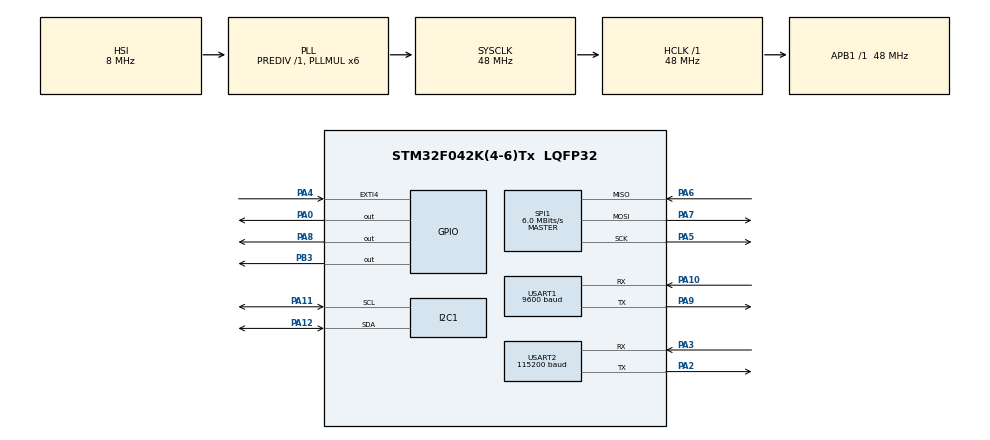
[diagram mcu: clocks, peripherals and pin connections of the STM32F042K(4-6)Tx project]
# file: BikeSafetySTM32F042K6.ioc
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Mcu.Family=STM32F0
Mcu.Name=STM32F042K(4-6)Tx
Mcu.Package=LQFP32
NVIC.EXTI4_15_IRQn=true\:0\:0\:false\:false\:true\:true\:true
NVIC.USART1_IRQn=true\:0\:0\:false\:false\:true\:true\:true
PA0.Signal=GPIO_Output
PA10.Mode=Asynchronous
PA10.Signal=USART1_RX
PA11.Mode=I2C
PA11.Signal=I2C1_SCL
PA12.Mode=I2C
PA12.Signal=I2C1_SDA
PA2.Mode=Asynchronous
PA2.Signal=USART2_TX
PA3.Mode=Asynchronous
PA3.Signal=USART2_RX
PA4.Signal=GPXTI4
PA5.Mode=Full_Duplex_Master
PA5.Signal=SPI1_SCK
PA6.Mode=Full_Duplex_Master
PA6.Signal=SPI1_MISO
PA7.Mode=Full_Duplex_Master
PA7.Signal=SPI1_MOSI
PA8.Signal=GPIO_Output
PA9.Mode=Asynchronous
PA9.Signal=USART1_TX
PB3.Signal=GPIO_Output
ProjectManager.HeapSize=0x200
ProjectManager.StackSize=0x400
ProjectManager.TargetToolchain=STM32CubeIDE
RCC.AHBFreq_Value=48000000
RCC.APB1Freq_Value=48000000
RCC.APB1TimFreq_Value=48000000
RCC.HCLKFreq_Value=48000000
RCC.PLLMUL=RCC_PLL_MUL6
RCC.SYSCLKFreq_VALUE=48000000
RCC.SYSCLKSource=RCC_SYSCLKSOURCE_PLLCLK
SPI1.BaudRatePrescaler=SPI_BAUDRATEPRESCALER_8
SPI1.CalculateBaudRate=6.0 MBits/s
SPI1.DataSize=SPI_DATASIZE_8BIT
SPI1.Direction=SPI_DIRECTION_2LINES
SPI1.Mode=SPI_MODE_MASTER
SPI1.VirtualType=VM_MASTER
TIM16.Prescaler=79
USART1.BaudRate=9600
USART1.Mode=MODE_TX_RX
USART1.VirtualMode-Asynchronous=VM_ASYNC
USART2.BaudRate=115200
USART2.VirtualMode-Asynchronous=VM_ASYNC
VP_TIM16_VS_ClockSourceINT.Mode=Enable_Timer
board=custom

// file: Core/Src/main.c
/* USER CODE BEGIN Header */
/**
  ******************************************************************************
  * @file           : main.c
  * @brief          : Main program body
  ******************************************************************************
  * @attention
  *
  * <h2><center>&copy; Copyright (c) 2021 STMicroelectronics.
  * All rights reserved.</center></h2>
  *
  * This software component is licensed by ST under BSD 3-Clause license,
  * the "License"; You may not use this file except in compliance with the
  * License. You may obtain a copy of the License at:
  *                        opensource.org/licenses/BSD-3-Clause
  *
  ******************************************************************************
  */
/* USER CODE END Header */
#include "main.h"

/* USER CODE BEGIN PTD */
HAL_I2C_StateTypeDef i2cState;		// State of i2c
HAL_StatusTypeDef i2cStatus;		// Status of i2c
HAL_StatusTypeDef spiStatus;		// Status of spi
HAL_StatusTypeDef uartStatus;		// Status of uart
HAL_StatusTypeDef uart2Status;		// Status of uart2

/* USER CODE END PTD */

I2C_HandleTypeDef hi2c1;

SPI_HandleTypeDef hspi1;

TIM_HandleTypeDef htim16;

UART_HandleTypeDef huart1;
UART_HandleTypeDef huart2;

/* USER CODE BEGIN PV */

uint32_t counter 		= 0;
uint32_t counter2 		= 0;

// MPU9250 Variables
uint32_t finalXAccValue 			= 0;
uint32_t finalXAccValueWithOffset 	= 0;
uint32_t finalYAccValue 			= 0;
uint32_t finalYAccValueWithOffset 	= 0;
uint32_t finalZAccValue 			= 0;
uint32_t finalZAccValueWithOffset 	= 0;

uint8_t IMUDevAddr 				= 0;
uint8_t ACCEL_XOUT_L 			= 0;
uint8_t ACCEL_XOUT_H 			= 0;
uint8_t ACCEL_YOUT_L 			= 0;
uint8_t ACCEL_YOUT_H 			= 0;
uint8_t ACCEL_ZOUT_L 			= 0;
uint8_t ACCEL_ZOUT_H 			= 0;

uint8_t interruptFlag 	= 0;
uint32_t timerVal 	= 0;
uint8_t clockCykles = 0;

uint32_t refXAccValueWithOffset = 0;
uint32_t refYAccValueWithOffset = 0;
uint32_t refZAccValueWithOffset = 0;

uint8_t lockedDevice = 0;

uint8_t dataReceiveI2cBuffer 	= 0;	// MP9250
uint8_t receiveUARTData[30] 	= {0};	// RFID
uint8_t UARTDataKey[30] 		= {2,51,66,48,48,50,54,48,66,53,57,52,70,3,0,0,0,0,0,0,0,0,0,0,0,0,0,0,0,0};	// RFID KEY
uint8_t receiveUART2Data[150] 	= {0};	// GSM/GNSS

//TODO Move all these to the functions
uint8_t dummyBuffer[]			= "1,1,20150327014838.000,31.221783,-00.000100,24.123456,0.28,0.0,1,,1.9,2.2,1.0,,8,4,,,42,,";
//uint8_t dummyBuffer[]			= "1,1,20150327014838.000,31.221783,60.123456,24.123456,0.28,0.0,1,,1.9,2.2,1.0,,8,4,,,42,,";
uint8_t dummyBuffer2[]			= "1,1,20150327014838.000,31.221783,60.123458,24.123458,0.28,0.0,1,,1.9,2.2,1.0,,8,4,,,42,,";
uint8_t longLat[20];
uint8_t degMinSecBuffer[3];
int commaElement;
int counterGNSS;
int latStart;
int latEndLongStart;
int longEnd;
int latDegSize;
int longDegSize;
int latNegDeg;
int longNegDeg;
int gnssFixElement;
int gnssFixStatus;

int latDeg;
int latMin;
int latSecFirst;
int latSecSecond;

int longDeg;
int longMin;
int longSecFirst;
int longSecSecond;

float latInMeters;
float prevlatInMeters;
float dlatInMeters;

float longInMeters;
float prevlongInMeters;
float dlongInMeters;

int enterToFunction = 0;

/* USER CODE END PV */

void SystemClock_Config(void);
static void MX_GPIO_Init(void);
static void MX_I2C1_Init(void);
static void MX_SPI1_Init(void);
static void MX_USART1_UART_Init(void);
static void MX_USART2_UART_Init(void);
static void MX_TIM16_Init(void);
/* USER CODE BEGIN PFP */
struct LatLongStruct latlongstructinstance; 		// TODO
struct LatLongStruct prevlatlongstructinstance; 	// TODO
struct OffsetFromHome offsetfromhome;				// TODO
char homeLocked = 0;							// TODO
struct GsmStruct gsmstruct;							// TODO

/* USER CODE END PFP */

int main(void)
{

  /* MCU Configuration--------------------------------------------------------*/

  /* Reset of all peripherals, Initializes the Flash interface and the Systick. */
  HAL_Init();

  /* Configure the system clock */
  SystemClock_Config();

  /* Initialize all configured peripherals */
  MX_GPIO_Init();
  MX_I2C1_Init();
  MX_SPI1_Init();
  MX_USART1_UART_Init();
  MX_USART2_UART_Init();
  MX_TIM16_Init();
  /* USER CODE BEGIN 2 */

  mpuInit();

  gnssInit();
  latlongstructinstance = getLatLongInMeters();
  //offsetfromhome = getOffsetFromHome(latlongstructinstance, prevlatlongstructinstance, homeLocked);
  //homeLocked = 1;
  prevlatlongstructinstance = latlongstructinstance;
  //HAL_Delay(1000);

  gsmInit();											// GSM initializer
  gsmstruct.phoneNumber = "+35844350xxxx";				// Enter number in this format
  gsmstruct.message		= "Sent from Otakaari 5tryreyre";	// Enter message to be send in this format
  sendGsmMessage(gsmstruct);

  /* USER CODE END 2 */

  /* Infinite loop */
  /* USER CODE BEGIN WHILE */

  HAL_TIM_Base_Start(&htim16);
  while (1)
  {

	  //i2cState = HAL_I2C_GetState(&hi2c1);
	  if(lockedDevice == 1 || counter2 != 0){
		  i2cState = HAL_I2C_GetState(&hi2c1);
	  //=========================MPU9250
		  i2cStatus = HAL_I2C_Master_Transmit(&hi2c1, IMUDevAddr, &ACCEL_XOUT_L, sizeof(ACCEL_XOUT_L), 10);
		  i2cStatus = HAL_I2C_Master_Receive(&hi2c1, IMUDevAddr, &dataReceiveI2cBuffer, 1, 100);
		  finalXAccValue = dataReceiveI2cBuffer;
		  i2cStatus = HAL_I2C_Master_Transmit(&hi2c1, IMUDevAddr, &ACCEL_XOUT_H, sizeof(ACCEL_XOUT_H), 10);
		  i2cStatus = HAL_I2C_Master_Receive(&hi2c1, IMUDevAddr, &dataReceiveI2cBuffer, 1, 100);
		  finalXAccValue = finalXAccValue + (dataReceiveI2cBuffer << 8);
		  finalXAccValueWithOffset = finalXAccValue + 40000;

		  i2cStatus = HAL_I2C_Master_Transmit(&hi2c1, IMUDevAddr, &ACCEL_YOUT_L, sizeof(ACCEL_YOUT_L), 10);
		  i2cStatus = HAL_I2C_Master_Receive(&hi2c1, IMUDevAddr, &dataReceiveI2cBuffer, 1, 100);
		  finalYAccValue = dataReceiveI2cBuffer;
		  i2cStatus = HAL_I2C_Master_Transmit(&hi2c1, IMUDevAddr, &ACCEL_YOUT_H, sizeof(ACCEL_YOUT_H), 10);
		  i2cStatus = HAL_I2C_Master_Receive(&hi2c1, IMUDevAddr, &dataReceiveI2cBuffer, 1, 100);
		  finalYAccValue = finalYAccValue + (dataReceiveI2cBuffer << 8);
		  finalYAccValueWithOffset = finalYAccValue + 40000;

		  i2cStatus = HAL_I2C_Master_Transmit(&hi2c1, IMUDevAddr, &ACCEL_ZOUT_L, sizeof(ACCEL_ZOUT_L), 10);
		  i2cStatus = HAL_I2C_Master_Receive(&hi2c1, IMUDevAddr, &dataReceiveI2cBuffer, 1, 100);
		  finalZAccValue = dataReceiveI2cBuffer;
		  i2cStatus = HAL_I2C_Master_Transmit(&hi2c1, IMUDevAddr, &ACCEL_ZOUT_H, sizeof(ACCEL_ZOUT_H), 10);
		  i2cStatus = HAL_I2C_Master_Receive(&hi2c1, IMUDevAddr, &dataReceiveI2cBuffer, 1, 100);
		  finalZAccValue = finalZAccValue + (dataReceiveI2cBuffer << 8);
		  finalZAccValueWithOffset = finalZAccValue + 88000;
	  //=========================MPU9250
	  }
	  if(lockedDevice == 1){
		  interruptFlag = 0;
		  //counter = counter +1;
		  if(finalZAccValueWithOffset < 100000){
			  HAL_GPIO_WritePin(GPIOA, GPIO_PIN_8, GPIO_PIN_SET);
		  }
		  else{
			  HAL_GPIO_WritePin(GPIOA, GPIO_PIN_8, GPIO_PIN_RESET);
		  }
	  }

	  else if(interruptFlag){

		  latlongstructinstance = getLatLongInMeters();
		  homeLocked = 1;
		  offsetfromhome = getOffsetFromHome(latlongstructinstance, prevlatlongstructinstance, homeLocked);
		  if(offsetfromhome.offsetLatInMeters > 150 || offsetfromhome.offsetLongInMeters > 150){
			  //sendGsmMessage(gsmstruct);
			  HAL_GPIO_TogglePin(GPIOB, GPIO_PIN_3);
		  }
		  HAL_Delay(1000);

	  }
	  /*else if(counter2 != 0){
		  homeLocked = 1;
		  latlongstructinstance = getLatLongInMeters();
		  if(__HAL_TIM_GET_COUNTER(&htim16) < timerVal){
			  clockCykles++;
			  timerVal = __HAL_TIM_GET_COUNTER(&htim16);
		  }
		  else{
			  timerVal = __HAL_TIM_GET_COUNTER(&htim16);
		  }

		  if(clockCykles > 33 && counter2 < 15){
			  clockCykles = 0;
			  counter2 = 0;
			  //INT_ENABLE[1] = 0x40;
		  }
		  else if(counter2 > 15){
			  HAL_GPIO_WritePin(GPIOA, GPIO_PIN_8, GPIO_PIN_SET);	// EXTERNAL LED
			  HAL_Delay(500);
			  HAL_GPIO_WritePin(GPIOA, GPIO_PIN_8, GPIO_PIN_RESET);
			  HAL_Delay(500);
		  }
		  else if(getOffsetFromHome(latlongstructinstance, prevlatlongstructinstance, homeLocked) > 200){
			  counter2++;
		  }

	  }*/

	  else{
		HAL_SuspendTick();

		  HAL_PWR_EnableSleepOnExit ();
		  HAL_PWR_EnterSLEEPMode(PWR_MAINREGULATOR_ON, PWR_SLEEPENTRY_WFI);

		  HAL_ResumeTick();
	  }

	  //=========================GNSS
	  //latlongstructinstance = getLatLongInMeters();
	  //offsetfromhome = getOffsetFromHome(latlongstructinstance, prevlatlongstructinstance, homeLocked);
	  //prevlatlongstructinstance = latlongstructinstance;
	  //=========================GNSS

	  counter = counter +1;
    /* USER CODE END WHILE */

  }
}

void SystemClock_Config(void)
{
  RCC_OscInitTypeDef RCC_OscInitStruct = {0};
  RCC_ClkInitTypeDef RCC_ClkInitStruct = {0};
  RCC_PeriphCLKInitTypeDef PeriphClkInit = {0};

  /** Initializes the RCC Oscillators according to the specified parameters
  * in the RCC_OscInitTypeDef structure.
  */
  RCC_OscInitStruct.OscillatorType = RCC_OSCILLATORTYPE_HSI;
  RCC_OscInitStruct.HSIState = RCC_HSI_ON;
  RCC_OscInitStruct.HSICalibrationValue = RCC_HSICALIBRATION_DEFAULT;
  RCC_OscInitStruct.PLL.PLLState = RCC_PLL_ON;
  RCC_OscInitStruct.PLL.PLLSource = RCC_PLLSOURCE_HSI;
  RCC_OscInitStruct.PLL.PLLMUL = RCC_PLL_MUL6;
  RCC_OscInitStruct.PLL.PREDIV = RCC_PREDIV_DIV1;
  if (HAL_RCC_OscConfig(&RCC_OscInitStruct) != HAL_OK)
  {
    Error_Handler();
  }
  /** Initializes the CPU, AHB and APB buses clocks
  */
  RCC_ClkInitStruct.ClockType = RCC_CLOCKTYPE_HCLK|RCC_CLOCKTYPE_SYSCLK
                              |RCC_CLOCKTYPE_PCLK1;
  RCC_ClkInitStruct.SYSCLKSource = RCC_SYSCLKSOURCE_PLLCLK;
  RCC_ClkInitStruct.AHBCLKDivider = RCC_SYSCLK_DIV1;
  RCC_ClkInitStruct.APB1CLKDivider = RCC_HCLK_DIV1;

  if (HAL_RCC_ClockConfig(&RCC_ClkInitStruct, FLASH_LATENCY_1) != HAL_OK)
  {
    Error_Handler();
  }
  PeriphClkInit.PeriphClockSelection = RCC_PERIPHCLK_USART1|RCC_PERIPHCLK_I2C1;
  PeriphClkInit.Usart1ClockSelection = RCC_USART1CLKSOURCE_PCLK1;
  PeriphClkInit.I2c1ClockSelection = RCC_I2C1CLKSOURCE_HSI;
  if (HAL_RCCEx_PeriphCLKConfig(&PeriphClkInit) != HAL_OK)
  {
    Error_Handler();
  }
}

static void MX_I2C1_Init(void)
{

  hi2c1.Instance = I2C1;
  hi2c1.Init.Timing = 0x2000090E;
  hi2c1.Init.OwnAddress1 = 0;
  hi2c1.Init.AddressingMode = I2C_ADDRESSINGMODE_7BIT;
  hi2c1.Init.DualAddressMode = I2C_DUALADDRESS_DISABLE;
  hi2c1.Init.OwnAddress2 = 0;
  hi2c1.Init.OwnAddress2Masks = I2C_OA2_NOMASK;
  hi2c1.Init.GeneralCallMode = I2C_GENERALCALL_DISABLE;
  hi2c1.Init.NoStretchMode = I2C_NOSTRETCH_DISABLE;
  if (HAL_I2C_Init(&hi2c1) != HAL_OK)
  {
    Error_Handler();
  }
  /** Configure Analogue filter
  */
  if (HAL_I2CEx_ConfigAnalogFilter(&hi2c1, I2C_ANALOGFILTER_ENABLE) != HAL_OK)
  {
    Error_Handler();
  }
  /** Configure Digital filter
  */
  if (HAL_I2CEx_ConfigDigitalFilter(&hi2c1, 0) != HAL_OK)
  {
    Error_Handler();
  }

}

static void MX_SPI1_Init(void)
{

  /* SPI1 parameter configuration*/
  hspi1.Instance = SPI1;
  hspi1.Init.Mode = SPI_MODE_MASTER;
  hspi1.Init.Direction = SPI_DIRECTION_2LINES;
  hspi1.Init.DataSize = SPI_DATASIZE_8BIT;
  hspi1.Init.CLKPolarity = SPI_POLARITY_LOW;
  hspi1.Init.CLKPhase = SPI_PHASE_1EDGE;
  hspi1.Init.NSS = SPI_NSS_SOFT;
  hspi1.Init.BaudRatePrescaler = SPI_BAUDRATEPRESCALER_8;
  hspi1.Init.FirstBit = SPI_FIRSTBIT_MSB;
  hspi1.Init.TIMode = SPI_TIMODE_DISABLE;
  hspi1.Init.CRCCalculation = SPI_CRCCALCULATION_DISABLE;
  hspi1.Init.CRCPolynomial = 7;
  hspi1.Init.CRCLength = SPI_CRC_LENGTH_DATASIZE;
  hspi1.Init.NSSPMode = SPI_NSS_PULSE_ENABLE;
  if (HAL_SPI_Init(&hspi1) != HAL_OK)
  {
    Error_Handler();
  }

}

static void MX_TIM16_Init(void)
{

  htim16.Instance = TIM16;
  htim16.Init.Prescaler = 79;
  htim16.Init.CounterMode = TIM_COUNTERMODE_UP;
  htim16.Init.Period = 65535;
  htim16.Init.ClockDivision = TIM_CLOCKDIVISION_DIV1;
  htim16.Init.RepetitionCounter = 0;
  htim16.Init.AutoReloadPreload = TIM_AUTORELOAD_PRELOAD_DISABLE;
  if (HAL_TIM_Base_Init(&htim16) != HAL_OK)
  {
    Error_Handler();
  }

}

static void MX_USART1_UART_Init(void)
{

  huart1.Instance = USART1;
  huart1.Init.BaudRate = 9600;
  huart1.Init.WordLength = UART_WORDLENGTH_8B;
  huart1.Init.StopBits = UART_STOPBITS_1;
  huart1.Init.Parity = UART_PARITY_NONE;
  huart1.Init.Mode = UART_MODE_TX_RX;
  huart1.Init.HwFlowCtl = UART_HWCONTROL_NONE;
  huart1.Init.OverSampling = UART_OVERSAMPLING_16;
  huart1.Init.OneBitSampling = UART_ONE_BIT_SAMPLE_DISABLE;
  huart1.AdvancedInit.AdvFeatureInit = UART_ADVFEATURE_NO_INIT;
  if (HAL_UART_Init(&huart1) != HAL_OK)
  {
    Error_Handler();
  }

}

static void MX_USART2_UART_Init(void)
{

  huart2.Instance = USART2;
  huart2.Init.BaudRate = 115200;
  huart2.Init.WordLength = UART_WORDLENGTH_8B;
  huart2.Init.StopBits = UART_STOPBITS_1;
  huart2.Init.Parity = UART_PARITY_NONE;
  huart2.Init.Mode = UART_MODE_TX_RX;
  huart2.Init.HwFlowCtl = UART_HWCONTROL_NONE;
  huart2.Init.OverSampling = UART_OVERSAMPLING_16;
  huart2.Init.OneBitSampling = UART_ONE_BIT_SAMPLE_DISABLE;
  huart2.AdvancedInit.AdvFeatureInit = UART_ADVFEATURE_NO_INIT;
  if (HAL_UART_Init(&huart2) != HAL_OK)
  {
    Error_Handler();
  }

}

static void MX_GPIO_Init(void)
{
  GPIO_InitTypeDef GPIO_InitStruct = {0};

  /* GPIO Ports Clock Enable */
  __HAL_RCC_GPIOA_CLK_ENABLE();
  __HAL_RCC_GPIOB_CLK_ENABLE();

  /*Configure GPIO pin Output Level */
  HAL_GPIO_WritePin(GPIOA, GPIO_PIN_0|GPIO_PIN_8, GPIO_PIN_RESET);

  /*Configure GPIO pin Output Level */
  HAL_GPIO_WritePin(GPIOB, GPIO_PIN_3, GPIO_PIN_RESET);

  /*Configure GPIO pins : PA0 PA8 */
  GPIO_InitStruct.Pin = GPIO_PIN_0|GPIO_PIN_8;
  GPIO_InitStruct.Mode = GPIO_MODE_OUTPUT_PP;
  GPIO_InitStruct.Pull = GPIO_NOPULL;
  GPIO_InitStruct.Speed = GPIO_SPEED_FREQ_LOW;
  HAL_GPIO_Init(GPIOA, &GPIO_InitStruct);

  /*Configure GPIO pin : PA4 */
  GPIO_InitStruct.Pin = GPIO_PIN_4;
  GPIO_InitStruct.Mode = GPIO_MODE_IT_RISING;
  GPIO_InitStruct.Pull = GPIO_NOPULL;
  HAL_GPIO_Init(GPIOA, &GPIO_InitStruct);

  /*Configure GPIO pin : PB3 */
  GPIO_InitStruct.Pin = GPIO_PIN_3;
  GPIO_InitStruct.Mode = GPIO_MODE_OUTPUT_PP;
  GPIO_InitStruct.Pull = GPIO_NOPULL;
  GPIO_InitStruct.Speed = GPIO_SPEED_FREQ_LOW;
  HAL_GPIO_Init(GPIOB, &GPIO_InitStruct);

  /* EXTI interrupt init*/
  HAL_NVIC_SetPriority(EXTI4_15_IRQn, 0, 0);
  HAL_NVIC_EnableIRQ(EXTI4_15_IRQn);

}

/* USER CODE BEGIN 4 */

void HAL_GPIO_EXTI_Callback(uint16_t GPIO_Pin)
{
    if(GPIO_Pin == GPIO_PIN_4 && lockedDevice == 0) // If The INT Source Is EXTI Line4 (A4 Pin)
    {
    	//HAL_GPIO_TogglePin(GPIOB, GPIO_PIN_3); // Toggle The ONBOARD LED
    	//timerVal = __HAL_TIM_GET_COUNTER(&htim16);
    	//counter2++;
    	//HAL_PWR_DisableSleepOnExit ();
    	//uint8_t INT_ENABLE[2] 			= {0x38, 0x00};
    	HAL_GPIO_WritePin(GPIOA, GPIO_PIN_8, GPIO_PIN_SET);
    	interruptFlag = 1;
    	HAL_GPIO_WritePin(GPIOA, GPIO_PIN_8, GPIO_PIN_RESET);
    	HAL_PWR_DisableSleepOnExit ();
    }

}

void HAL_UART_RxCpltCallback(UART_HandleTypeDef *huart)
{
	//HAL_GPIO_WritePin(GPIOB, GPIO_PIN_3, GPIO_PIN_SET);	// ONBOARD LED
	//HAL_GPIO_TogglePin(GPIOA, GPIO_PIN_8);
	 /*HAL_Delay(500);
	  HAL_GPIO_WritePin(GPIOB, GPIO_PIN_3, GPIO_PIN_RESET);
	  HAL_Delay(500);*/
	  uartStatus = HAL_UART_Receive_IT(&huart1, receiveUARTData, 14);
	  if(checkKey(receiveUARTData, UARTDataKey) == 1){
		  if(!lockedDevice){
			  lockedDevice = 1;
			  counter2 = 0;
			  HAL_PWR_DisableSleepOnExit ();
			  homeLocked = 0;
			  //HAL_GPIO_TogglePin(GPIOA, GPIO_PIN_8);
		  }
		  else{
			  lockedDevice = 0;
			  homeLocked = 1;
			  getOffsetFromHome(latlongstructinstance, prevlatlongstructinstance, homeLocked);
			  prevlatlongstructinstance = latlongstructinstance;
			  //HAL_GPIO_TogglePin(GPIOA, GPIO_PIN_8);
		  }

	  }
}

int checkKey(uint8_t arr1[],  uint8_t arr2[])
{
	int i;
	for(i = 0; i < 30; i++)
	{
		if(arr1[i] != arr2[i])
		{
			return 0;
		}
	}
	return 1;
}

int checkMovment()
{
	uint32_t xDiff = abs(refXAccValueWithOffset - finalXAccValueWithOffset);
	uint32_t yDiff = abs(refYAccValueWithOffset - finalYAccValueWithOffset);
	uint32_t zDiff = abs(refZAccValueWithOffset - finalZAccValueWithOffset);

	refXAccValueWithOffset = finalXAccValueWithOffset;
	refYAccValueWithOffset = finalYAccValueWithOffset;
	refZAccValueWithOffset = finalZAccValueWithOffset;

	if(xDiff > 400 || yDiff > 400 || zDiff > 400){
		return 1;
	}
	else{
		return 0;
	}
}
struct LatLongStruct getLatLongInMeters(void){
	enterToFunction = 1; // TODO delete
	struct LatLongStruct latlongstruct = {0};	// Stores LatLong metric values
	HAL_StatusTypeDef uart2Status;				// Status of uart2
	uint8_t AT_CGNSINF[] = "AT+CGNSINF\r";		// Gets data from GNSS

    uart2Status = HAL_UART_Transmit(&huart2, AT_CGNSINF, sizeof(AT_CGNSINF), 1000);
    uart2Status = HAL_UART_Receive(&huart2, receiveUART2Data, sizeof(receiveUART2Data), 1000);
    HAL_Delay(100);

	//dummyBuffer[0]	= "1,1,20150327014838.000,31.221783,60.123456,24.123456,0.28,0.0,1,,1.9,2.2,1.0,,8,4,,,42,,";

	for(int i = 0; i < sizeof(receiveUART2Data); i++){
		if(receiveUART2Data[i] == ','){
			commaElement = i;
			counterGNSS++;
		}
		if(counterGNSS == 1){
			gnssFixElement = i;
			if(receiveUART2Data[i] == '1'){
				gnssFixStatus = 1;
			}
			if(receiveUART2Data[i] == '0'){
				gnssFixStatus = 0;
			}
		}
		if(counterGNSS == 2){
			latStart = i+1;
			if(receiveUART2Data[latStart+1] == '-'){latNegDeg = 1;}
			else{latNegDeg = 0;}
			for(int j = latStart; j < latStart+6; j++){
				if(receiveUART2Data[j] == '.'){latDegSize = j-latStart-1-latNegDeg;}
			}
		}
		if(counterGNSS == 3){
			latEndLongStart = i+1;
			if(receiveUART2Data[latEndLongStart+1] == '-'){longNegDeg = 1;}
			else{longNegDeg = 0;}
			for(int j = latEndLongStart; j < latEndLongStart+6; j++){
				if(receiveUART2Data[j] == '.'){longDegSize = j-latEndLongStart-1-longNegDeg;}
			}
		}
		if(counterGNSS == 6){
			longEnd = i;
			break;
		}
	}
	counterGNSS = 0;

	memset(degMinSecBuffer, '0', sizeof(degMinSecBuffer));
	for(int i = 0; i < latDegSize; i++){degMinSecBuffer[i+3-latDegSize] = receiveUART2Data[latStart+i+1+latNegDeg];}
	latDeg = atoi(degMinSecBuffer);
	memset(degMinSecBuffer, '0', sizeof(degMinSecBuffer));
	for(int i = 1; i < 3; i++){degMinSecBuffer[i] = receiveUART2Data[latStart+i+latDegSize+1+latNegDeg];}
	latMin = atoi(degMinSecBuffer);
	for(int i = 1; i < 3; i++){degMinSecBuffer[i] = receiveUART2Data[latStart+i+latDegSize+3+latNegDeg];}
	latSecFirst = atoi(degMinSecBuffer);
	for(int i = 1; i < 3; i++){degMinSecBuffer[i] = receiveUART2Data[latStart+i+latDegSize+5+latNegDeg];}
	latSecSecond = atoi(degMinSecBuffer);
	memset(degMinSecBuffer, '0', sizeof(degMinSecBuffer));

	for(int i = 0; i < longDegSize; i++){degMinSecBuffer[i+3-longDegSize] = receiveUART2Data[latEndLongStart+i+1+longNegDeg];}
	longDeg = atoi(degMinSecBuffer);
	memset(degMinSecBuffer, '0', sizeof(degMinSecBuffer));
	for(int i = 1; i < 3; i++){degMinSecBuffer[i] = receiveUART2Data[latEndLongStart+i+longDegSize+1+longNegDeg];}
	longMin = atoi(degMinSecBuffer);
	for(int i = 1; i < 3; i++){degMinSecBuffer[i] = receiveUART2Data[latEndLongStart+i+longDegSize+3+longNegDeg];}
	longSecFirst = atoi(degMinSecBuffer);
	for(int i = 1; i < 3; i++){degMinSecBuffer[i] = receiveUART2Data[latEndLongStart+i+longDegSize+5+longNegDeg];}
	longSecSecond = atoi(degMinSecBuffer);
	memset(degMinSecBuffer, '0', sizeof(degMinSecBuffer));

	latInMeters = (latDeg*111000.0)+(latMin*1850.0)+(latSecFirst*30.0)+(latSecSecond*0.3);
	//dlatInMeters = abs(latInMeters - prevlatInMeters);
	//prevlatInMeters = latInMeters;

	longInMeters = (longDeg*111000.0)+(longMin*1850.0)+(longSecFirst*30.0)+(longSecSecond*0.3);
	//dlongInMeters = abs(longInMeters - prevlongInMeters);
	//prevlongInMeters = longInMeters;
	memset(receiveUART2Data, '?', sizeof(receiveUART2Data));

	latlongstruct.gnssFixOk 	= gnssFixStatus;
	latlongstruct.uartStatusOk	= uart2Status;
	latlongstruct.latNeg		= latNegDeg;
	latlongstruct.longNeg		= longNegDeg;
	latlongstruct.latInMeters	= latInMeters;
	latlongstruct.longInMeters	= longInMeters;

	return latlongstruct;
}

struct OffsetFromHome getOffsetFromHome(struct LatLongStruct latlongstruct, struct LatLongStruct prevlatlongstruct, char homeLocked){
	enterToFunction = 2; // TODO delete
	struct OffsetFromHome offsetfromhome;
	if(homeLocked == 0){
		offsetfromhome.offsetLatInMeters = 0.0;
		offsetfromhome.offsetLongInMeters = 0.0;
	}
	if(homeLocked == 1){
		offsetfromhome.offsetLatInMeters = abs(latlongstruct.latInMeters - prevlatlongstruct.latInMeters);
		offsetfromhome.offsetLongInMeters = abs(latlongstruct.longInMeters - prevlatlongstruct.longInMeters);
	}
	return offsetfromhome;
}

char mpuInit(void){
	char initStatus = 0;
	//=========================MPU9250
	// Registers
	IMUDevAddr 						= 0xd0;
	uint8_t PWR_MGMT_1[2] 			= {0x6b, 0b00100000};	// or 4
	//uint8_t PWR_MGMT_1[2] 			= {0x6b, 0b00000000};
	//uint8_t PWR_MGMT_2[2] 			= {0x6c, 0b00000000};	// 0 to enable all or 255 to disable all
	uint8_t PWR_MGMT_2[2] 			= {0x6c, 0b00000111};	//
	uint8_t WHO_AM_I 				= 0x75;
	uint8_t LP_ACCEL_ODR[2] 		= {0x1e, 0b00001000}; 	// 8 = output frequency 62.50Hz
	uint8_t ACCEL_CONFIG[2] 		= {0x1c, 0x0}; 			// 0x0 for 2g, 0x8 for 4g, 0x10 for 8g,0x18 for 16g
	uint8_t ACCEL_CONFIG_2[2] 		= {0x1d, 0b00001101};	//1d
	uint8_t INT_ENABLE[2] 			= {0x38, 0x40};			// enable motion interrupt
	uint8_t MOT_DETECT_CTRL[2] 		= {0x69, 0b11000000};	// enable hardware intelligence
	uint8_t WOM_THR[2]				= {0x1f, 0x03};			// threshold
	uint8_t maskLP_ACCEL_ODR[2] 	= {0x1e, 0b00000100}; 	// frequency of wake-up
	uint8_t PWR_MGMT_1_new[2] 		= {0x6b, 0b00100000};	// cycle mode
	//uint8_t PWR_MGMT_1_new[2] 		= {0x6b, 0b00000000};	// cycle mode
	uint8_t INT_PIN_CFG[2] 			= {0x37, 0b01001100};	//37
	//uint8_t INT_PIN_CFG[2] 			= {0x37, 0b00110000};	//37

	/*uint8_t ACCEL_CONFIG[2] 		= {0x1c, 0x0}; 			// 0x0 for 2g, 0x8 for 4g, 0x10 for 8g,0x18 for 16g
	uint8_t WHO_AM_I 				= 0x75;
    uint8_t PWR_MGMT_1[2] = {0x6b, 0b00000001};//6b
    uint8_t PWR_MGMT_2[2] = {0x6c, 0b00000111};//6c
    uint8_t ACCEL_CONFIG_2[2] ={0x1d, 0b00000101};//1d
    uint8_t INT_ENABLE[2] = {0x38, 0x40};//38
    uint8_t MOT_DETECT_CTRL[2] = {0x69, 0b11000000};//69
    uint8_t WOM_THR[2]={0x1f, 0x7f};//1f
    uint8_t LP_ACCEL_ODR[2] = {0x1e, 0b00000100};//1e
    uint8_t PWR_MGMT_1_new[2] = {0x6b, 0b00100000};//6b
    uint8_t INT_PIN_CFG[2] = {0x37, 0b00110000};//3a*/

	ACCEL_XOUT_L 			= 0x3c;
	ACCEL_XOUT_H 			= 0x3b;
	ACCEL_YOUT_L 			= 0x3e;
	ACCEL_YOUT_H 			= 0x3d;
	ACCEL_ZOUT_L 			= 0x40;
	ACCEL_ZOUT_H 			= 0x3f;

	i2cStatus = HAL_I2C_Master_Transmit(&hi2c1, IMUDevAddr, PWR_MGMT_1, sizeof(PWR_MGMT_1), 10);
	i2cStatus = HAL_I2C_Master_Receive(&hi2c1, IMUDevAddr, &dataReceiveI2cBuffer, 1, 10);

	HAL_Delay(10);
	i2cStatus = HAL_I2C_Master_Transmit(&hi2c1, IMUDevAddr, PWR_MGMT_2, sizeof(PWR_MGMT_2), 10);
	i2cStatus = HAL_I2C_Master_Receive(&hi2c1, IMUDevAddr, &dataReceiveI2cBuffer, 1, 10);

	HAL_Delay(10);
	i2cStatus = HAL_I2C_Master_Transmit(&hi2c1, IMUDevAddr, &WHO_AM_I, sizeof(WHO_AM_I), 10);
	i2cStatus = HAL_I2C_Master_Receive(&hi2c1, IMUDevAddr, &dataReceiveI2cBuffer, 1, 10);

	HAL_Delay(10);
	i2cStatus = HAL_I2C_Master_Transmit(&hi2c1, IMUDevAddr, LP_ACCEL_ODR, sizeof(LP_ACCEL_ODR), 10);
	i2cStatus = HAL_I2C_Master_Receive(&hi2c1, IMUDevAddr, &dataReceiveI2cBuffer, 1, 10);

	HAL_Delay(10);
	i2cStatus = HAL_I2C_Master_Transmit(&hi2c1, IMUDevAddr, ACCEL_CONFIG, sizeof(ACCEL_CONFIG), 10);
	i2cStatus = HAL_I2C_Master_Receive(&hi2c1, IMUDevAddr, &dataReceiveI2cBuffer, 1, 10);

	HAL_Delay(10);
		i2cStatus = HAL_I2C_Master_Transmit(&hi2c1, IMUDevAddr, 0x3a, 1, 10);
		i2cStatus = HAL_I2C_Master_Receive(&hi2c1, IMUDevAddr, &dataReceiveI2cBuffer, 1, 10);

	//	HAL_Delay(100000);
//=========================MPU9250
	uartStatus = HAL_UART_Receive_IT(&huart1, receiveUARTData, 14);
	initStatus = 1;
	return initStatus;
}

char gnssInit(void){
	// TODO Add proper status return or error handling
	char initStatus = 0;
	//=========================GNSS
	uint8_t AT_CGNSPWR_ON[] 	= "AT+CGNSPWR=1\r";				// GNSS turns Power ON
	uint8_t AT_CGNSPWR_OFF[] 	= "AT+CGNSPWR=0\r";				// GNSS turns Power OFF
	uint8_t AT_CGNSSEQ[] 		= "AT+CGNSSEQ=\"RMC\"\r";		// RMC for GGA
	uint8_t AT_CGNSINF[] 		= "AT+CGNSINF\r";				// Gets data from GNSS
	uint8_t AT_CGNSURC_SET[] 	= "AT+CGNSURC=0\r";
	uint8_t AT_CGNSURC_ASK[] 	= "AT+CGNSURC?\r";
	//=========================GNSS

	//=========================GNSS
	uart2Status = HAL_UART_Transmit(&huart2, AT_CGNSPWR_ON, sizeof(AT_CGNSPWR_ON), 1000);
	uart2Status = HAL_UART_Receive(&huart2, receiveUART2Data, sizeof(receiveUART2Data), 1000);
	HAL_Delay(20);
	memset(receiveUART2Data, '?', sizeof(receiveUART2Data));

	uart2Status = HAL_UART_Transmit(&huart2, AT_CGNSURC_SET, sizeof(AT_CGNSURC_SET), 1000);
	uart2Status = HAL_UART_Receive(&huart2, receiveUART2Data, sizeof(receiveUART2Data), 1000);
	HAL_Delay(10);
	memset(receiveUART2Data, '?', sizeof(receiveUART2Data));

	uart2Status = HAL_UART_Transmit(&huart2, AT_CGNSSEQ, sizeof(AT_CGNSSEQ), 1000);
	uart2Status = HAL_UART_Receive(&huart2, receiveUART2Data, sizeof(receiveUART2Data), 1000);
	HAL_Delay(10);
	memset(receiveUART2Data, '?', sizeof(receiveUART2Data));
	//=========================GNSS
	initStatus = 1;
	return initStatus;
}

char gsmInit(void){
	// TODO Add proper status return or error handling
	char initStatus = 0;
	//=========================GSM
	uint8_t AT[] 					= "AT\r";
	uint8_t ATI[] 					= "ATI\r";
	uint8_t AT_CFUN[] 				= "AT+CFUN=1\r";			// Full Functionality Configuration
	uint8_t AT_COPS_OPCHK[] 		= "AT+COPS=?\r";			// Returns all operators available
	uint8_t AT_COPS_CRNT[] 			= "AT+COPS?\r";				// Returns current operator
	uint8_t AT_COPS_RGSTR[] 		= "AT+COPS=0\r";			// Register to operator network AT+COPS=<mode>,[<format>[,<oper>]]
	uint8_t AT_CMGF[] 				= "AT+CMGF=1\r";			// Set to text mode
	uint8_t AT_CSCS[] 				= "AT+CSCS=\"GSM\"\r";		// Set character
	uint8_t AT_CSQ[] 				= "AT+CSQ\r";				// Get Signal Strength in dBm
	uint8_t AT_CPOWD[] 				= "AT+CPOWD=1\r";			// Power OFF Modem
	uint8_t AT_CMGS_SEND_CTRLZ[] 	= "\x1a";					// Send Control
	//=========================GSM

	//=========================GSM
	uart2Status = HAL_UART_Transmit(&huart2, AT_COPS_RGSTR, sizeof(AT_COPS_RGSTR), 10);
	uart2Status = HAL_UART_Receive(&huart2, receiveUART2Data, sizeof(receiveUART2Data), 10);
	HAL_Delay(10);

	uart2Status = HAL_UART_Transmit(&huart2, AT_COPS_CRNT, sizeof(AT_COPS_CRNT), 10);
	uart2Status = HAL_UART_Receive(&huart2, receiveUART2Data, sizeof(receiveUART2Data), 10);
	HAL_Delay(50);

	uart2Status = HAL_UART_Transmit(&huart2, AT_CMGF, sizeof(AT_CMGF), 10);
	uart2Status = HAL_UART_Receive(&huart2, receiveUART2Data, sizeof(receiveUART2Data), 10);
	HAL_Delay(10);
	memset(receiveUART2Data, '?', sizeof(receiveUART2Data));
	initStatus = 1;
	return initStatus;
}

char sendGsmMessage(struct GsmStruct gsmstruct){
	// TODO Add proper status return or error handling
	gsmstruct.numberOk = 0;
	//=========================GSM
	uint8_t AT[] 					= "AT\r";
	uint8_t ATI[] 					= "ATI\r";
	uint8_t AT_CFUN[] 				= "AT+CFUN=1\r";			// Full Functionality Configuration
	uint8_t AT_COPS_OPCHK[] 		= "AT+COPS=?\r";			// Returns all operators available
	uint8_t AT_COPS_CRNT[] 			= "AT+COPS?\r";				// Returns current operator
	uint8_t AT_COPS_RGSTR[] 		= "AT+COPS=0\r";			// Register to operator network AT+COPS=<mode>,[<format>[,<oper>]]
	uint8_t AT_CMGF[] 				= "AT+CMGF=1\r";			// Set to text mode
	uint8_t AT_CSCS[] 				= "AT+CSCS=\"GSM\"\r";		// Set character
	uint8_t AT_CSQ[] 				= "AT+CSQ\r";				// Get Signal Strength in dBm
	uint8_t AT_CPOWD[] 				= "AT+CPOWD=1\r";			// Power OFF Modem
	uint8_t AT_CMGS_SEND_CTRLZ[] 	= "\x1a";					// Send Control
	//uint8_t AT_CMGS_SEND_MSG_BUF[] 	= "AT+CMGS=\"+35844350xxxx\"\rMESSAGE";
	//=========================GSM
	char AT_CMGS_SEND_MSG_BUF_STRT[] = "AT+CMGS=\"";
	char AT_CMGS_SEND_MSG_BUF_MIDL[] = "\"\r";

	char AT_CMGS_SEND_MSG_BUF_TOT[sizeof(AT_CMGS_SEND_MSG_BUF_STRT)+sizeof(AT_CMGS_SEND_MSG_BUF_MIDL)+strlen(gsmstruct.phoneNumber)+strlen(gsmstruct.message)-1];
	strcpy(AT_CMGS_SEND_MSG_BUF_TOT, AT_CMGS_SEND_MSG_BUF_STRT);
	strcat(AT_CMGS_SEND_MSG_BUF_TOT, gsmstruct.phoneNumber);
	strcat(AT_CMGS_SEND_MSG_BUF_TOT, AT_CMGS_SEND_MSG_BUF_MIDL);
	strcat(AT_CMGS_SEND_MSG_BUF_TOT, gsmstruct.message);
	//=========================GSM
	memset(receiveUART2Data, '?', sizeof(receiveUART2Data));

	uart2Status = HAL_UART_Transmit(&huart2, AT_CSCS, sizeof(AT_CSCS), 10);
	uart2Status = HAL_UART_Receive(&huart2, receiveUART2Data, sizeof(receiveUART2Data), 10);
	HAL_Delay(10);
	memset(receiveUART2Data, '?', sizeof(receiveUART2Data));

	uart2Status = HAL_UART_Transmit(&huart2, AT_CMGS_SEND_MSG_BUF_TOT, sizeof(AT_CMGS_SEND_MSG_BUF_TOT), 10);
	uart2Status = HAL_UART_Receive(&huart2, receiveUART2Data, sizeof(receiveUART2Data), 10);
	HAL_Delay(10);
	memset(receiveUART2Data, '?', sizeof(receiveUART2Data));

	uart2Status = HAL_UART_Transmit(&huart2, AT_CMGS_SEND_CTRLZ, sizeof(AT_CMGS_SEND_CTRLZ), 1000);
	uart2Status = HAL_UART_Receive(&huart2, receiveUART2Data, sizeof(receiveUART2Data), 10);
	HAL_Delay(10);
	memset(receiveUART2Data, '?', sizeof(receiveUART2Data));
	//=========================GSM
	gsmstruct.numberOk = 1;
	return gsmstruct.numberOk;
}

/* TODO Implement proper I2C if needed
void i2cScanDevices(void){
	for(uint16_t i = 0; i < 256; i++)	// Used to scan for I2C devices
	{
	  i2cStatus = HAL_I2C_IsDeviceReady(&hi2c1, i, 1, 1);
	  if(i2cStatus == HAL_OK)
	  {
		  IMUDevAddr = i;
		  break;
	  }
	  //HAL_Delay(200);
	  //counter2 = counter2 +1;
	}

}
*/

/* USER CODE END 4 */

void Error_Handler(void)
{
  __disable_irq();
  while (1)
  {
  }
}

/************************ (C) COPYRIGHT STMicroelectronics *****END OF FILE****/
